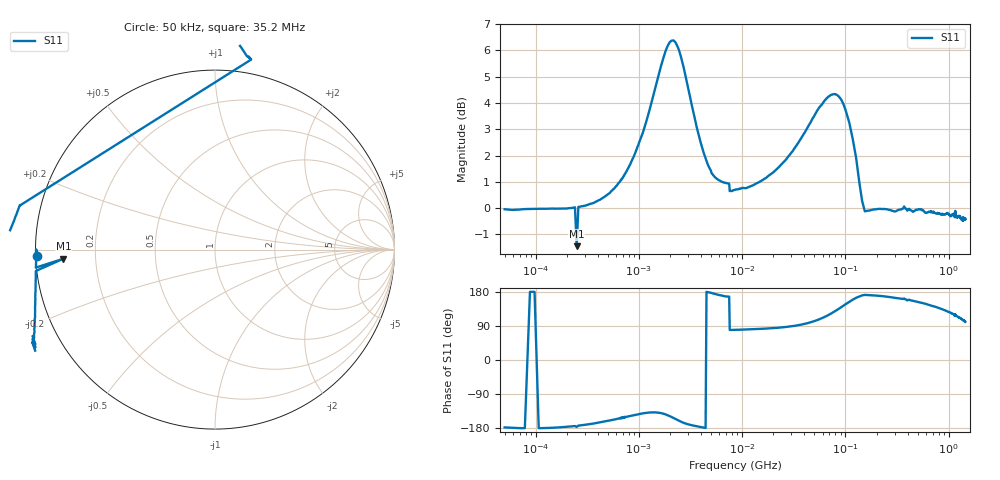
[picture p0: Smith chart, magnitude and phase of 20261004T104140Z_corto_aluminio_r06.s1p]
! piloto_corto / corto_aluminio / r06
# HZ S RI R 50
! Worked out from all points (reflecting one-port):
!   501 points, 50 kHz to 1.45 GHz, reference 50 ohm
!   lowest |S11| = -1.4 dB at 249.5 kHz (marker M1), VSWR 12.03, Z = 4.16 - j1.5 ohm
!   phase of S11 starts at -178 deg and turns -81 deg over the sweep
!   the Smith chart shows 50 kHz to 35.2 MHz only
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50000  -0.9944 -0.0362
183000  -0.9962 -0.0496
249500  -0.8449 -0.051
658000  -1.016 -0.4817
1180000  -1.112 -0.9517
1630000  -1.427 -1.193
1990000  -1.76 -1.091
2440000  -1.885 -0.6659
2890000  -1.716 -0.3475
3340000  -1.521 -0.1911
4690000  -1.205 0.023
7300000  -1.086 0.2478
7750000  0.2004 1.06
8560000  0.1946 1.066
3.16e7  0.00371 1.294
4.78e7  -0.2802 1.452
6.76e7  -0.7636 1.437
7.93e7  -1.033 1.284
9.37e7  -1.249 0.9851
9.82e7  -1.283 0.8803
1e8  -1.291 0.8381
1.18e8  -1.264 0.4731
1.36e8  -1.096 0.2398
1.63e8  -0.9775 0.1473
4.06e8  -0.9259 0.3635
9.37e8  -0.6254 0.7482
1.1665e9  -0.4513 0.8569
1.45e9  -0.1794 0.9368
